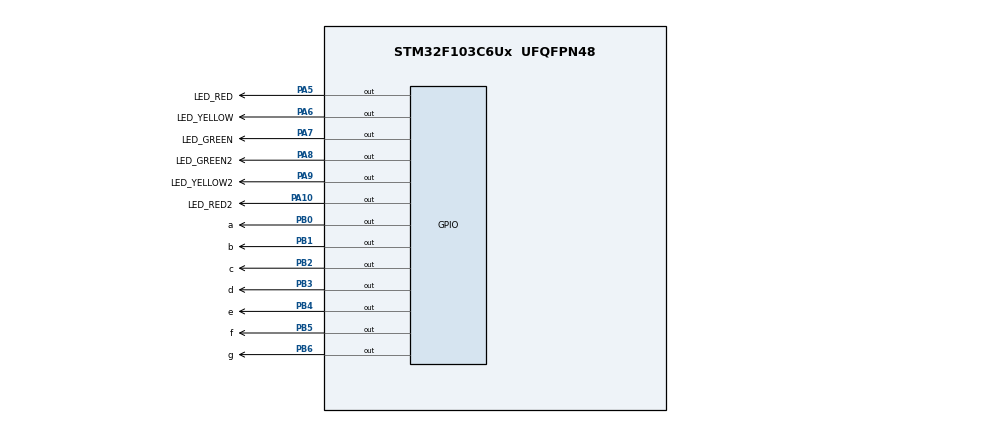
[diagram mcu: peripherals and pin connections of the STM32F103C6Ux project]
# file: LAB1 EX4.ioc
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Mcu.Family=STM32F1
Mcu.Name=STM32F103C6Ux
Mcu.Package=UFQFPN48
NVIC.PriorityGroup=NVIC_PRIORITYGROUP_4
PA10.GPIO_Label=LED_RED2
PA10.Signal=GPIO_Output
PA5.GPIO_Label=LED_RED
PA5.Signal=GPIO_Output
PA6.GPIO_Label=LED_YELLOW
PA6.Signal=GPIO_Output
PA7.GPIO_Label=LED_GREEN
PA7.Signal=GPIO_Output
PA8.GPIO_Label=LED_GREEN2
PA8.Signal=GPIO_Output
PA9.GPIO_Label=LED_YELLOW2
PA9.Signal=GPIO_Output
PB0.GPIO_Label=a
PB0.Signal=GPIO_Output
PB1.GPIO_Label=b
PB1.Signal=GPIO_Output
PB2.GPIO_Label=c
PB2.Signal=GPIO_Output
PB3.GPIO_Label=d
PB3.Signal=GPIO_Output
PB4.GPIO_Label=e
PB4.Signal=GPIO_Output
PB5.GPIO_Label=f
PB5.Signal=GPIO_Output
PB6.GPIO_Label=g
PB6.Signal=GPIO_Output
ProjectManager.HeapSize=0x200
ProjectManager.StackSize=0x400
ProjectManager.TargetToolchain=STM32CubeIDE
RCC.APB1Freq_Value=8000000
RCC.APB2Freq_Value=8000000
VP_SYS_VS_ND.Mode=No_Debug
board=custom

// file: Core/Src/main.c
/* USER CODE BEGIN Header */
/**
  ******************************************************************************
  * @file           : main.c
  * @brief          : Main program body
  ******************************************************************************
  * @attention
  *
  * <h2><center>&copy; Copyright (c) 2022 STMicroelectronics.
  * All rights reserved.</center></h2>
  *
  * This software component is licensed by ST under BSD 3-Clause license,
  * the "License"; You may not use this file except in compliance with the
  * License. You may obtain a copy of the License at:
  *                        opensource.org/licenses/BSD-3-Clause
  *
  ******************************************************************************
  */
/* USER CODE END Header */
#include "main.h"

void SystemClock_Config(void);
static void MX_GPIO_Init(void);

int main(void)
{

  /* MCU Configuration--------------------------------------------------------*/

  /* Reset of all peripherals, Initializes the Flash interface and the Systick. */
  HAL_Init();

  /* Configure the system clock */
  SystemClock_Config();

  /* Initialize all configured peripherals */
  MX_GPIO_Init();

  /* Infinite loop */
  /* USER CODE BEGIN WHILE */
  int counter = 4;
  int led = 0;
  void display7SEG(int num){
	  switch(num){
	  case 0:
		  HAL_GPIO_WritePin(a_GPIO_Port, a_Pin, RESET);
		  HAL_GPIO_WritePin(b_GPIO_Port, b_Pin, RESET);
		  HAL_GPIO_WritePin(c_GPIO_Port, c_Pin, RESET);
		  HAL_GPIO_WritePin(d_GPIO_Port, d_Pin, RESET);
		  HAL_GPIO_WritePin(e_GPIO_Port, e_Pin, RESET);
		  HAL_GPIO_WritePin(f_GPIO_Port, f_Pin, RESET);
		  HAL_GPIO_WritePin(g_GPIO_Port, g_Pin, SET);

		  break;

	  case 1:
		  HAL_GPIO_WritePin(a_GPIO_Port, a_Pin, SET);
		  HAL_GPIO_WritePin(b_GPIO_Port, b_Pin, RESET);
		  HAL_GPIO_WritePin(c_GPIO_Port, c_Pin, RESET);
		  HAL_GPIO_WritePin(d_GPIO_Port, d_Pin, SET);
		  HAL_GPIO_WritePin(e_GPIO_Port, e_Pin, SET);
		  HAL_GPIO_WritePin(f_GPIO_Port, f_Pin, SET);
		  HAL_GPIO_WritePin(g_GPIO_Port, g_Pin, SET);
		  break;

	  case 2:
		  HAL_GPIO_WritePin(a_GPIO_Port, a_Pin, RESET);
		  HAL_GPIO_WritePin(b_GPIO_Port, b_Pin, RESET);
		  HAL_GPIO_WritePin(c_GPIO_Port, c_Pin, SET);
		  HAL_GPIO_WritePin(d_GPIO_Port, d_Pin, RESET);
		  HAL_GPIO_WritePin(e_GPIO_Port, e_Pin, RESET);
		  HAL_GPIO_WritePin(f_GPIO_Port, f_Pin, SET);
		  HAL_GPIO_WritePin(g_GPIO_Port, g_Pin, RESET);
		  break;

	  case 3:
		  HAL_GPIO_WritePin(a_GPIO_Port, a_Pin, RESET);
		  HAL_GPIO_WritePin(b_GPIO_Port, b_Pin, RESET);
		  HAL_GPIO_WritePin(c_GPIO_Port, c_Pin, RESET);
		  HAL_GPIO_WritePin(d_GPIO_Port, d_Pin, RESET);
		  HAL_GPIO_WritePin(e_GPIO_Port, e_Pin, SET);
		  HAL_GPIO_WritePin(f_GPIO_Port, f_Pin, SET);
		  HAL_GPIO_WritePin(g_GPIO_Port, g_Pin, RESET);
		  break;

	  case 4:
		  HAL_GPIO_WritePin(a_GPIO_Port, a_Pin, SET);
		  HAL_GPIO_WritePin(b_GPIO_Port, b_Pin, RESET);
		  HAL_GPIO_WritePin(c_GPIO_Port, c_Pin, RESET);
		  HAL_GPIO_WritePin(d_GPIO_Port, d_Pin, SET);
		  HAL_GPIO_WritePin(e_GPIO_Port, e_Pin, SET);
		  HAL_GPIO_WritePin(f_GPIO_Port, f_Pin, RESET);
		  HAL_GPIO_WritePin(g_GPIO_Port, g_Pin, RESET);
		  break;

	  case 5:
		  HAL_GPIO_WritePin(a_GPIO_Port, a_Pin, RESET);
		  HAL_GPIO_WritePin(b_GPIO_Port, b_Pin, SET);
		  HAL_GPIO_WritePin(d_GPIO_Port, d_Pin, RESET);
		  HAL_GPIO_WritePin(e_GPIO_Port, e_Pin, SET);
		  HAL_GPIO_WritePin(f_GPIO_Port, f_Pin, RESET);
		  HAL_GPIO_WritePin(g_GPIO_Port, g_Pin, RESET);
		  break;

	  case 6:
		  HAL_GPIO_WritePin(a_GPIO_Port, a_Pin, RESET);
		  HAL_GPIO_WritePin(b_GPIO_Port, b_Pin, SET);
		  HAL_GPIO_WritePin(c_GPIO_Port, c_Pin, RESET);
		  HAL_GPIO_WritePin(d_GPIO_Port, d_Pin, RESET);
		  HAL_GPIO_WritePin(e_GPIO_Port, e_Pin, RESET);
		  HAL_GPIO_WritePin(f_GPIO_Port, f_Pin, RESET);
		  HAL_GPIO_WritePin(g_GPIO_Port, g_Pin, RESET);
		  break;

	  case 7:
		  HAL_GPIO_WritePin(a_GPIO_Port, a_Pin, RESET);
		  HAL_GPIO_WritePin(b_GPIO_Port, b_Pin, RESET);
		  HAL_GPIO_WritePin(c_GPIO_Port, c_Pin, RESET);
		  HAL_GPIO_WritePin(d_GPIO_Port, d_Pin, SET);
		  HAL_GPIO_WritePin(e_GPIO_Port, e_Pin, SET);
		  HAL_GPIO_WritePin(f_GPIO_Port, f_Pin, SET);
		  HAL_GPIO_WritePin(g_GPIO_Port, g_Pin, SET);
		  break;

	  case 8:
		  HAL_GPIO_WritePin(a_GPIO_Port, a_Pin, RESET);
		  HAL_GPIO_WritePin(b_GPIO_Port, b_Pin, RESET);
		  HAL_GPIO_WritePin(c_GPIO_Port, c_Pin, RESET);
		  HAL_GPIO_WritePin(d_GPIO_Port, d_Pin, RESET);
		  HAL_GPIO_WritePin(e_GPIO_Port, e_Pin, RESET);
		  HAL_GPIO_WritePin(f_GPIO_Port, f_Pin, RESET);
		  HAL_GPIO_WritePin(g_GPIO_Port, g_Pin, RESET);
		  break;

	  case 9:
		  HAL_GPIO_WritePin(a_GPIO_Port, a_Pin, RESET);
		  HAL_GPIO_WritePin(b_GPIO_Port, b_Pin, RESET);
		  HAL_GPIO_WritePin(c_GPIO_Port, c_Pin, RESET);
		  HAL_GPIO_WritePin(d_GPIO_Port, d_Pin, RESET);
		  HAL_GPIO_WritePin(e_GPIO_Port, e_Pin, SET);
		  HAL_GPIO_WritePin(f_GPIO_Port, f_Pin, RESET);
		  HAL_GPIO_WritePin(g_GPIO_Port, g_Pin, RESET);
		  break;

	  default:
		  HAL_GPIO_WritePin(a_GPIO_Port, a_Pin, SET);
		  HAL_GPIO_WritePin(b_GPIO_Port, b_Pin, SET);
		  HAL_GPIO_WritePin(c_GPIO_Port, c_Pin, SET);
		  HAL_GPIO_WritePin(d_GPIO_Port, d_Pin, SET);
		  HAL_GPIO_WritePin(e_GPIO_Port, e_Pin, SET);
		  HAL_GPIO_WritePin(f_GPIO_Port, f_Pin, SET);
		  HAL_GPIO_WritePin(g_GPIO_Port, g_Pin, SET);
		  break;
	  }

  }

  while (1)
  {
	  if(led >= 10) led = 0;
	  display7SEG(led++);
//	  switch(counter){
//	  	  //RED -> LEFT/ RIGHT
//	  	  //RED2 -> UP/DOWN
//	  	  case 3:
//	  	//LED RED ON
//	  	//LED GREEN2 ON
//	  		  HAL_GPIO_WritePin(LED_RED_GPIO_Port, LED_RED_Pin, SET);
//	  		  HAL_GPIO_WritePin(LED_YELLOW_GPIO_Port, LED_YELLOW_Pin, RESET);
//	  		  HAL_GPIO_WritePin(LED_GREEN_GPIO_Port, LED_GREEN_Pin, RESET);
//
//	  		  HAL_GPIO_WritePin(LED_RED2_GPIO_Port, LED_RED2_Pin, RESET);
//	  		  HAL_GPIO_WritePin(LED_YELLOW2_GPIO_Port, LED_YELLOW2_Pin, RESET);
//	  		  HAL_GPIO_WritePin(LED_GREEN2_GPIO_Port, LED_GREEN2_Pin, SET);
//	  		  break;
//	  	  case 2:
//	  	//LED RED ON
//	  	//LED YELLOW2 ON
//	  		  HAL_GPIO_WritePin(LED_RED_GPIO_Port, LED_RED_Pin, SET);
//	  		  HAL_GPIO_WritePin(LED_YELLOW_GPIO_Port, LED_YELLOW_Pin, RESET);
//	  		  HAL_GPIO_WritePin(LED_GREEN_GPIO_Port, LED_GREEN_Pin, RESET);
//
//	  		  HAL_GPIO_WritePin(LED_RED2_GPIO_Port, LED_RED2_Pin, RESET);
//	  		  HAL_GPIO_WritePin(LED_YELLOW2_GPIO_Port, LED_YELLOW2_Pin, SET);
//	  		  HAL_GPIO_WritePin(LED_GREEN2_GPIO_Port, LED_GREEN2_Pin, RESET);
//	  		  break;
//	  	  case 1:
//	  	// LED  GREEN ON
//	  	// LED RED2 ON
//	  		  HAL_GPIO_WritePin(LED_RED_GPIO_Port, LED_RED_Pin, RESET);
//	  		  HAL_GPIO_WritePin(LED_YELLOW_GPIO_Port, LED_YELLOW_Pin, RESET);
//	  		  HAL_GPIO_WritePin(LED_GREEN_GPIO_Port, LED_GREEN_Pin, SET);
//
//	  		  HAL_GPIO_WritePin(LED_RED2_GPIO_Port, LED_RED2_Pin, SET);
//	  		  HAL_GPIO_WritePin(LED_YELLOW2_GPIO_Port, LED_YELLOW2_Pin, RESET);
//	  		  HAL_GPIO_WritePin(LED_GREEN2_GPIO_Port, LED_GREEN2_Pin, RESET);
//	  		  break;
//	  	  case 0:
//	  	//LED YELLOW ON
//	  	// LED RED2 ON
//	  		  HAL_GPIO_WritePin(LED_RED_GPIO_Port, LED_RED_Pin, RESET);
//	  		  HAL_GPIO_WritePin(LED_YELLOW_GPIO_Port, LED_YELLOW_Pin, SET);
//	  		  HAL_GPIO_WritePin(LED_GREEN_GPIO_Port, LED_GREEN_Pin, RESET);
//
//	  		  HAL_GPIO_WritePin(LED_RED2_GPIO_Port, LED_RED2_Pin, SET);
//	  		  HAL_GPIO_WritePin(LED_YELLOW2_GPIO_Port, LED_YELLOW2_Pin, RESET);
//	  		  HAL_GPIO_WritePin(LED_GREEN2_GPIO_Port, LED_GREEN2_Pin, RESET);
//	  		  counter = 4;
//	  		  break;
//	  	  default:
//	  		  HAL_GPIO_WritePin(LED_RED_GPIO_Port, LED_RED_Pin, RESET);
//	  		  HAL_GPIO_WritePin(LED_YELLOW_GPIO_Port, LED_YELLOW_Pin, RESET);
//	  		  HAL_GPIO_WritePin(LED_GREEN_GPIO_Port, LED_GREEN_Pin, RESET);
//
//	  		  HAL_GPIO_WritePin(LED_RED2_GPIO_Port, LED_RED2_Pin, RESET);
//	  		  HAL_GPIO_WritePin(LED_YELLOW2_GPIO_Port, LED_YELLOW2_Pin, RESET);
//	  		  HAL_GPIO_WritePin(LED_GREEN2_GPIO_Port, LED_GREEN2_Pin, RESET);
//	  		  break;
//
//	  	  }
//	  	  counter--;

	  	  HAL_Delay(2000);

    /* USER CODE END WHILE */

  }
}

void SystemClock_Config(void)
{
  RCC_OscInitTypeDef RCC_OscInitStruct = {0};
  RCC_ClkInitTypeDef RCC_ClkInitStruct = {0};

  /** Initializes the RCC Oscillators according to the specified parameters
  * in the RCC_OscInitTypeDef structure.
  */
  RCC_OscInitStruct.OscillatorType = RCC_OSCILLATORTYPE_HSI;
  RCC_OscInitStruct.HSIState = RCC_HSI_ON;
  RCC_OscInitStruct.HSICalibrationValue = RCC_HSICALIBRATION_DEFAULT;
  RCC_OscInitStruct.PLL.PLLState = RCC_PLL_NONE;
  if (HAL_RCC_OscConfig(&RCC_OscInitStruct) != HAL_OK)
  {
    Error_Handler();
  }
  /** Initializes the CPU, AHB and APB buses clocks
  */
  RCC_ClkInitStruct.ClockType = RCC_CLOCKTYPE_HCLK|RCC_CLOCKTYPE_SYSCLK
                              |RCC_CLOCKTYPE_PCLK1|RCC_CLOCKTYPE_PCLK2;
  RCC_ClkInitStruct.SYSCLKSource = RCC_SYSCLKSOURCE_HSI;
  RCC_ClkInitStruct.AHBCLKDivider = RCC_SYSCLK_DIV1;
  RCC_ClkInitStruct.APB1CLKDivider = RCC_HCLK_DIV1;
  RCC_ClkInitStruct.APB2CLKDivider = RCC_HCLK_DIV1;

  if (HAL_RCC_ClockConfig(&RCC_ClkInitStruct, FLASH_LATENCY_0) != HAL_OK)
  {
    Error_Handler();
  }
}

static void MX_GPIO_Init(void)
{
  GPIO_InitTypeDef GPIO_InitStruct = {0};

  /* GPIO Ports Clock Enable */
  __HAL_RCC_GPIOA_CLK_ENABLE();
  __HAL_RCC_GPIOB_CLK_ENABLE();

  /*Configure GPIO pin Output Level */
  HAL_GPIO_WritePin(GPIOA, LED_RED_Pin|LED_YELLOW_Pin|LED_GREEN_Pin|LED_GREEN2_Pin
                          |LED_YELLOW2_Pin|LED_RED2_Pin, GPIO_PIN_RESET);

  /*Configure GPIO pin Output Level */
  HAL_GPIO_WritePin(GPIOB, a_Pin|b_Pin|c_Pin|d_Pin
                          |e_Pin|f_Pin|g_Pin, GPIO_PIN_RESET);

  /*Configure GPIO pins : LED_RED_Pin LED_YELLOW_Pin LED_GREEN_Pin LED_GREEN2_Pin
                           LED_YELLOW2_Pin LED_RED2_Pin */
  GPIO_InitStruct.Pin = LED_RED_Pin|LED_YELLOW_Pin|LED_GREEN_Pin|LED_GREEN2_Pin
                          |LED_YELLOW2_Pin|LED_RED2_Pin;
  GPIO_InitStruct.Mode = GPIO_MODE_OUTPUT_PP;
  GPIO_InitStruct.Pull = GPIO_NOPULL;
  GPIO_InitStruct.Speed = GPIO_SPEED_FREQ_LOW;
  HAL_GPIO_Init(GPIOA, &GPIO_InitStruct);

  /*Configure GPIO pins : a_Pin b_Pin c_Pin d_Pin
                           e_Pin f_Pin g_Pin */
  GPIO_InitStruct.Pin = a_Pin|b_Pin|c_Pin|d_Pin
                          |e_Pin|f_Pin|g_Pin;
  GPIO_InitStruct.Mode = GPIO_MODE_OUTPUT_PP;
  GPIO_InitStruct.Pull = GPIO_NOPULL;
  GPIO_InitStruct.Speed = GPIO_SPEED_FREQ_LOW;
  HAL_GPIO_Init(GPIOB, &GPIO_InitStruct);

}

void Error_Handler(void)
{
  __disable_irq();
  while (1)
  {
  }
}

/************************ (C) COPYRIGHT STMicroelectronics *****END OF FILE****/
